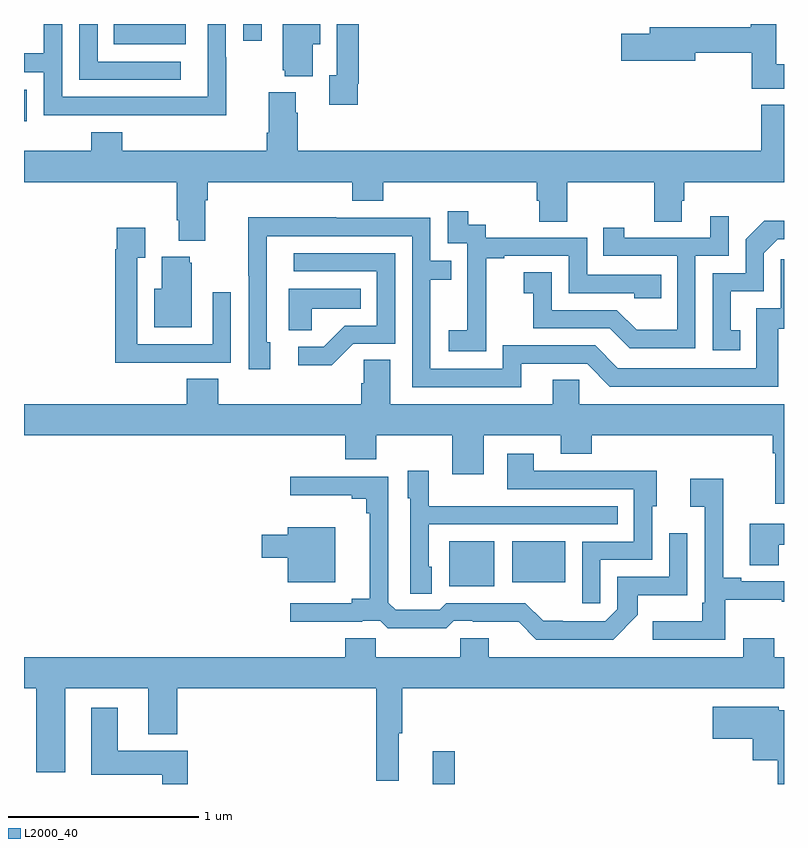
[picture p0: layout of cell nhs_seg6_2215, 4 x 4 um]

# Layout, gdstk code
import gdstk
lib = gdstk.Library(unit=1e-6, precision=1e-09)
def R(c, l, rs):  # rectangles x0, y0, x1, y1
    for r in rs: c.add(gdstk.rectangle(r[:2], r[2:], *l))
def P(c, l, *ps):  # polygons
    for p in ps: c.add(gdstk.Polygon(p, *l))
L2000_40 = (2000, 40)

nhs_seg6_2215 = lib.new_cell('nhs_seg6_2215')
R(nhs_seg6_2215, L2000_40, [(245.15,945.5,245.267,945.673), (245.237,946.541,245.476,946.777), (245.57,946.562,245.848,946.777), (243,948.987,243.015,949.155), (244.155,949.413,244.251,949.5)])
P(nhs_seg6_2215, L2000_40, [(244.065,949.325),(244.062,949.325),(244.062,949.5),(243.966,949.5),(243.966,949.116),(243.201,949.116),(243.201,949.5),(243.105,949.5),(243.105,949.346),(243,949.346),(243,949.245),(243.105,949.245),(243.105,949.02),(243.601,949.02),(243.601,949.019),(244.065,949.019)],
  [(243.85,949.5),(243.729,949.5),(243.729,949.498),(243.472,949.498),(243.472,949.394),(243.85,949.394)],
  [(244.756,949.186),(244.763,949.186),(244.763,949.5),(244.647,949.5),(244.647,949.23),(244.607,949.23),(244.607,949.074),(244.756,949.074)],
  [(243.826,949.302),(243.387,949.302),(243.387,949.5),(243.291,949.5),(243.291,949.206),(243.826,949.206)],
  [(244.519,949.394),(244.558,949.394),(244.558,949.5),(244.361,949.5),(244.361,949.257),(244.373,949.257),(244.373,949.226),(244.519,949.226)],
  [(247,949.288),(246.958,949.288),(246.958,949.5),(246.824,949.5),(246.824,949.484),(246.293,949.484),(246.293,949.448),(246.144,949.448),(246.144,949.306),(246.532,949.306),(246.532,949.348),(246.829,949.348),(246.829,949.16),(247,949.16)],
  [(243.955,948.572),(243.968,948.572),(243.968,948.668),(244.727,948.668),(244.727,948.569),(244.892,948.569),(244.892,948.668),(245.699,948.668),(245.699,948.57),(245.711,948.57),(245.711,948.46),(245.859,948.46),(245.859,948.668),(246.316,948.668),(246.316,948.46),(246.463,948.46),(246.463,948.57),(246.476,948.57),(246.476,948.668),(247,948.668),(247,949.075),(246.881,949.075),(246.881,948.832),(244.442,948.832),(244.442,949.034),(244.429,949.034),(244.429,949.141),(244.289,949.141),(244.289,948.928),(244.277,948.928),(244.277,948.832),(243.518,948.832),(243.518,948.931),(243.353,948.931),(243.353,948.832),(243,948.832),(243,948.668),(243.803,948.668),(243.803,948.466),(243.815,948.466),(243.815,948.359),(243.955,948.359)],
  [(245.433,947.983),(245.432,947.983),(245.432,948.267),(245.527,948.267),(245.527,948.279),(245.868,948.279),(245.868,948.084),(246.213,948.084),(246.213,948.057),(246.353,948.057),(246.353,948.18),(245.964,948.18),(245.964,948.375),(245.43,948.375),(245.43,948.444),(245.338,948.444),(245.338,948.514),(245.229,948.514),(245.229,948.345),(245.334,948.345),(245.334,948.116),(245.333,948.116),(245.333,947.887),(245.235,947.887),(245.235,947.777),(245.433,947.777)],
  [(246.534,948.279),(246.708,948.279),(246.708,948.487),(246.611,948.487),(246.611,948.375),(246.16,948.375),(246.16,948.427),(246.049,948.427),(246.049,948.279),(246.438,948.279),(246.438,947.89),(246.224,947.89),(246.12,947.994),(245.778,947.994),(245.778,948.193),(245.631,948.193),(245.631,948.083),(245.68,948.083),(245.68,947.898),(246.083,947.898),(246.188,947.793),(246.534,947.793)],
  [(245.617,947.712),(245.964,947.712),(246.084,947.592),(246.971,947.592),(246.971,947.895),(247,947.895),(247,948.262),(246.984,948.262),(246.984,948.003),(246.855,948.003),(246.855,947.688),(246.126,947.688),(246.006,947.808),(245.52,947.808),(245.52,947.685),(245.139,947.685),(245.139,948.154),(245.249,948.154),(245.249,948.255),(245.139,948.255),(245.139,948.48),(244.643,948.48),(244.643,948.482),(244.18,948.482),(244.18,948.175),(244.182,948.175),(244.182,947.682),(244.297,947.682),(244.297,947.826),(244.278,947.826),(244.278,948.384),(245.043,948.384),(245.043,947.589),(245.617,947.589)],
  [(246.77,947.889),(246.721,947.889),(246.721,948.093),(246.894,948.093),(246.894,948.294),(246.966,948.366),(247,948.366),(247,948.464),(246.896,948.464),(246.798,948.366),(246.798,948.189),(246.624,948.189),(246.624,947.784),(246.77,947.784)],
  [(243.773,947.718),(244.089,947.718),(244.089,948.088),(243.993,948.088),(243.993,947.814),(243.597,947.814),(243.597,948.271),(243.637,948.271),(243.637,948.427),(243.489,948.427),(243.489,948.314),(243.481,948.314),(243.481,947.717),(243.773,947.717)],
  [(244.734,947.817),(244.953,947.817),(244.953,948.294),(244.419,948.294),(244.419,948.198),(244.857,948.198),(244.857,947.913),(244.688,947.913),(244.577,947.802),(244.443,947.802),(244.443,947.705),(244.621,947.705)],
  [(243.883,948.243),(243.872,948.243),(243.872,948.274),(243.725,948.274),(243.725,948.106),(243.686,948.106),(243.686,947.903),(243.883,947.903)],
  [(244.515,948.002),(244.772,948.002),(244.772,948.106),(244.394,948.106),(244.394,947.887),(244.515,947.887)],
  [(247,947.5),(245.922,947.5),(245.922,947.627),(245.783,947.627),(245.783,947.5),(244.927,947.5),(244.927,947.732),(244.788,947.732),(244.788,947.609),(244.775,947.609),(244.775,947.5),(244.022,947.5),(244.022,947.633),(243.857,947.633),(243.857,947.5),(243,947.5),(243,947.336),(244.691,947.336),(244.691,947.208),(244.855,947.208),(244.855,947.336),(245.255,947.336),(245.255,947.13),(245.419,947.13),(245.419,947.336),(245.825,947.336),(245.825,947.237),(245.989,947.237),(245.989,947.336),(246.941,947.336),(246.941,947.24),(246.953,947.24),(246.953,946.974),(247,946.974)],
  [(246.033,946.68),(246.306,946.68),(246.306,946.962),(246.331,946.962),(246.331,947.15),(246.113,947.15),(246.113,947.148),(245.683,947.148),(245.683,947.239),(245.543,947.239),(245.543,947.052),(246.21,947.052),(246.21,946.776),(245.937,946.776),(245.937,946.452),(246.033,946.452)],
  [(245.146,946.644),(245.13,946.644),(245.13,946.866),(246.125,946.866),(246.125,946.962),(245.447,946.962),(245.447,946.963),(245.13,946.963),(245.13,947.149),(245.021,947.149),(245.021,947.004),(245.034,947.004),(245.034,946.501),(245.146,946.501)],
  [(246.231,946.391),(246.231,946.493),(246.492,946.493),(246.492,946.819),(246.396,946.819),(246.396,946.59),(246.123,946.59),(246.123,946.419),(246.06,946.356),(245.836,946.356),(245.836,946.358),(245.732,946.358),(245.637,946.452),(245.223,946.452),(245.187,946.416),(244.956,946.416),(244.917,946.455),(244.917,947.118),(244.401,947.118),(244.401,947.021),(244.724,947.021),(244.724,947.002),(244.801,947.002),(244.801,946.925),(244.82,946.925),(244.82,946.475),(244.724,946.475),(244.724,946.452),(244.401,946.452),(244.401,946.355),(244.781,946.355),(244.781,946.359),(244.875,946.359),(244.915,946.32),(245.223,946.32),(245.262,946.359),(245.362,946.359),(245.362,946.355),(245.603,946.355),(245.697,946.26),(246.1,946.26)],
  [(246.691,946.469),(246.989,946.469),(246.989,946.458),(247,946.458),(247,946.566),(246.775,946.566),(246.775,946.585),(246.679,946.585),(246.679,947.107),(246.507,947.107),(246.507,946.958),(246.582,946.958),(246.582,946.453),(246.57,946.453),(246.57,946.357),(246.309,946.357),(246.309,946.26),(246.691,946.26)],
  [(246.973,946.76),(247,946.76),(247,946.87),(246.821,946.87),(246.821,946.651),(246.973,946.651)],
  [(244.639,946.852),(244.388,946.852),(244.388,946.813),(244.251,946.813),(244.251,946.691),(244.388,946.691),(244.388,946.562),(244.639,946.562)],
  [(244.973,945.768),(244.991,945.768),(244.991,946.004),(247,946.004),(247,946.168),(246.949,946.168),(246.949,946.267),(246.785,946.267),(246.785,946.168),(245.446,946.168),(245.446,946.266),(245.296,946.266),(245.296,946.168),(244.851,946.168),(244.851,946.266),(244.691,946.266),(244.691,946.168),(243,946.168),(243,946.004),(243.065,946.004),(243.065,945.563),(243.217,945.563),(243.217,946.004),(243.653,946.004),(243.653,945.761),(243.806,945.761),(243.806,946.004),(244.855,946.004),(244.855,945.516),(244.973,945.516)],
  [(247,945.889),(246.972,945.889),(246.972,945.907),(246.624,945.907),(246.624,945.737),(246.836,945.737),(246.836,945.626),(246.966,945.626),(246.966,945.5),(247,945.5)],
  [(243.863,945.676),(243.493,945.676),(243.493,945.901),(243.353,945.901),(243.353,945.548),(243.728,945.548),(243.728,945.5),(243.863,945.5)])

lib.write_gds('nhs_seg6_2215.gds')
